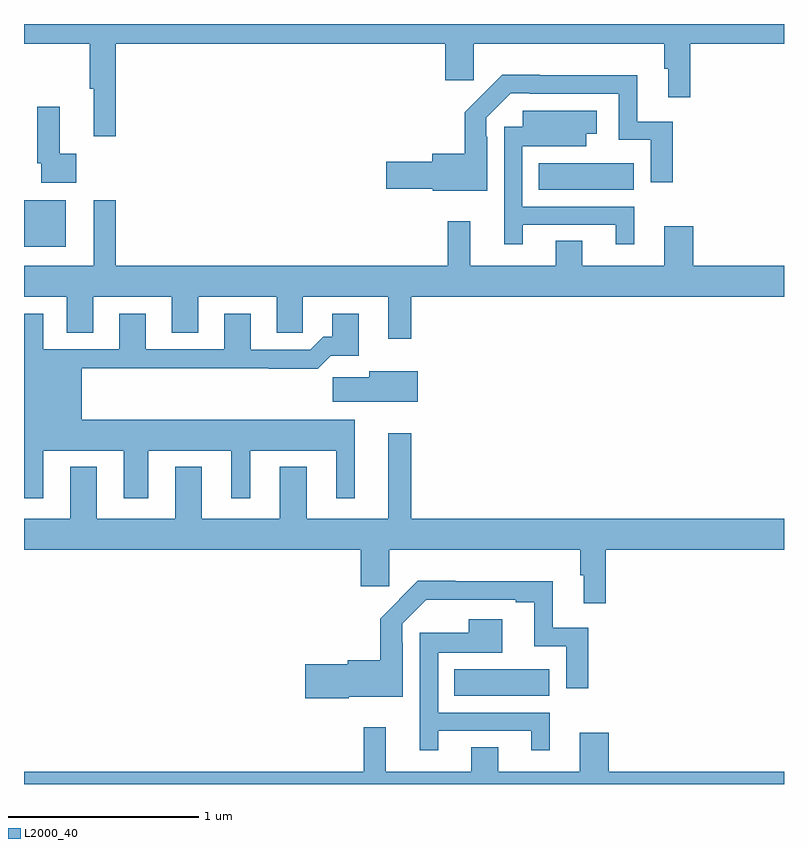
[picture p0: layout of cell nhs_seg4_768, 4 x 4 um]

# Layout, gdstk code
import gdstk
lib = gdstk.Library(unit=1e-6, precision=1e-09)
def R(c, l, rs):  # rectangles x0, y0, x1, y1
    for r in rs: c.add(gdstk.rectangle(r[:2], r[2:], *l))
def P(c, l, *ps):  # polygons
    for p in ps: c.add(gdstk.Polygon(p, *l))
L2000_40 = (2000, 40)

nhs_seg4_768 = lib.new_cell('nhs_seg4_768')
R(nhs_seg4_768, L2000_40, [(151.264,817.364,151.765,817.504), (149,819.728,149.221,819.973), (151.708,820.028,152.209,820.168)])
P(nhs_seg4_768, L2000_40, [(149.483,820.796),(151.217,820.796),(151.217,820.605),(151.367,820.605),(151.367,820.796),(152.371,820.796),(152.371,820.664),(152.39,820.664),(152.39,820.515),(152.507,820.515),(152.507,820.796),(153,820.796),(153,820.9),(149,820.9),(149,820.796),(149.347,820.796),(149.347,820.56),(149.366,820.56),(149.366,820.308),(149.483,820.308)],
  [(151.437,820.307),(151.434,820.307),(151.434,820.407),(151.563,820.536),(151.663,820.536),(151.663,820.533),(152.13,820.533),(152.13,820.29),(152.298,820.29),(152.298,820.068),(152.414,820.068),(152.414,820.386),(152.227,820.386),(152.227,820.63),(151.715,820.63),(151.715,820.633),(151.516,820.633),(151.319,820.435),(151.319,820.216),(151.148,820.216),(151.148,820.175),(150.906,820.175),(150.906,820.033),(151.152,820.033),(151.152,820.022),(151.437,820.022)],
  [(149.275,820.217),(149.189,820.217),(149.189,820.465),(149.071,820.465),(149.071,820.168),(149.091,820.168),(149.091,820.064),(149.275,820.064)],
  [(151.624,819.843),(152.114,819.843),(152.114,819.741),(152.212,819.741),(152.212,819.939),(151.623,819.939),(151.623,820.256),(151.96,820.256),(151.96,820.322),(152.014,820.322),(152.014,820.444),(151.626,820.444),(151.626,820.359),(151.527,820.359),(151.527,819.741),(151.624,819.741)],
  [(151.039,819.464),(153,819.464),(153,819.628),(152.522,819.628),(152.522,819.835),(152.369,819.835),(152.369,819.628),(151.939,819.628),(151.939,819.758),(151.799,819.758),(151.799,819.628),(151.349,819.628),(151.349,819.862),(151.231,819.862),(151.231,819.628),(149.483,819.628),(149.483,819.973),(149.366,819.973),(149.366,819.628),(149,819.628),(149,819.464),(149.225,819.464),(149.225,819.274),(149.365,819.274),(149.365,819.464),(149.777,819.464),(149.777,819.274),(149.917,819.274),(149.917,819.464),(150.329,819.464),(150.329,819.274),(150.468,819.274),(150.468,819.464),(150.917,819.464),(150.917,819.243),(151.039,819.243)],
  [(149.101,818.654),(149.525,818.654),(149.525,818.403),(149.653,818.403),(149.653,818.654),(150.092,818.654),(150.092,818.403),(150.19,818.403),(150.19,818.654),(150.644,818.654),(150.644,818.403),(150.742,818.403),(150.742,818.818),(149.305,818.818),(149.305,819.088),(150.289,819.088),(150.289,819.086),(150.545,819.086),(150.614,819.155),(150.763,819.155),(150.763,819.376),(150.623,819.376),(150.623,819.253),(150.574,819.253),(150.507,819.186),(150.193,819.186),(150.193,819.376),(150.053,819.376),(150.053,819.189),(149.641,819.189),(149.641,819.376),(149.501,819.376),(149.501,819.189),(149.101,819.189),(149.101,819.376),(149,819.376),(149,818.403),(149.101,818.403)],
  [(151.072,819.073),(150.818,819.073),(150.818,819.041),(150.624,819.041),(150.624,818.912),(151.072,818.912)],
  [(152.063,818.132),(153,818.132),(153,818.296),(151.039,818.296),(151.039,818.746),(150.917,818.746),(150.917,818.296),(150.487,818.296),(150.487,818.569),(150.347,818.569),(150.347,818.296),(149.935,818.296),(149.935,818.569),(149.795,818.569),(149.795,818.296),(149.383,818.296),(149.383,818.569),(149.243,818.569),(149.243,818.296),(149,818.296),(149,818.132),(150.773,818.132),(150.773,817.941),(150.923,817.941),(150.923,818.132),(151.927,818.132),(151.927,818),(151.946,818),(151.946,817.851),(152.063,817.851)],
  [(150.708,817.358),(150.993,817.358),(150.993,817.643),(150.99,817.643),(150.99,817.743),(151.116,817.869),(151.589,817.869),(151.589,817.857),(151.685,817.857),(151.685,817.626),(151.854,817.626),(151.854,817.404),(151.97,817.404),(151.97,817.722),(151.783,817.722),(151.783,817.966),(151.271,817.966),(151.271,817.969),(151.072,817.969),(150.875,817.771),(150.875,817.552),(150.704,817.552),(150.704,817.529),(150.48,817.529),(150.48,817.351),(150.708,817.351)],
  [(151.18,817.179),(151.67,817.179),(151.67,817.077),(151.768,817.077),(151.768,817.275),(151.179,817.275),(151.179,817.592),(151.516,817.592),(151.516,817.768),(151.34,817.768),(151.34,817.696),(151.083,817.696),(151.083,817.077),(151.18,817.077)],
  [(153,816.964),(152.078,816.964),(152.078,817.171),(151.925,817.171),(151.925,816.964),(151.495,816.964),(151.495,817.094),(151.355,817.094),(151.355,816.964),(150.905,816.964),(150.905,817.198),(150.787,817.198),(150.787,816.964),(149,816.964),(149,816.9),(153,816.9)])

lib.write_gds('nhs_seg4_768.gds')
